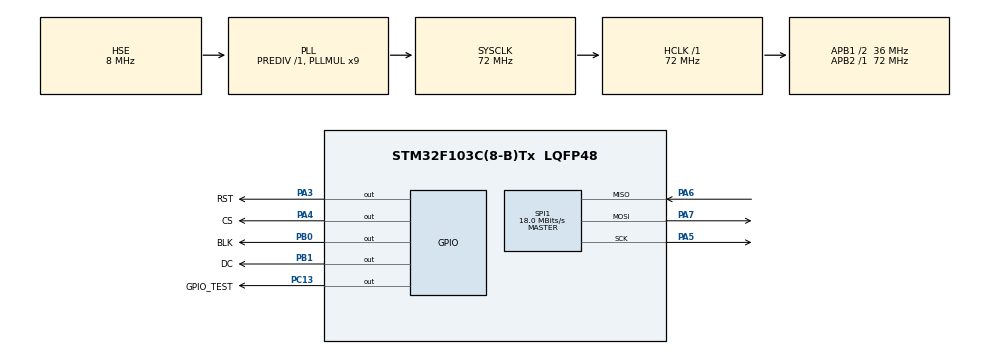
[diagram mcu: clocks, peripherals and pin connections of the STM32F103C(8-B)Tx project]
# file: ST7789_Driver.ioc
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Dma.Request0=SPI1_TX
Dma.SPI1_TX.0.Direction=DMA_MEMORY_TO_PERIPH
Dma.SPI1_TX.0.Instance=DMA1_Channel3
Dma.SPI1_TX.0.MemDataAlignment=DMA_MDATAALIGN_HALFWORD
Dma.SPI1_TX.0.MemInc=DMA_MINC_ENABLE
Dma.SPI1_TX.0.Mode=DMA_NORMAL
Dma.SPI1_TX.0.PeriphDataAlignment=DMA_PDATAALIGN_HALFWORD
Dma.SPI1_TX.0.PeriphInc=DMA_PINC_DISABLE
Dma.SPI1_TX.0.Priority=DMA_PRIORITY_HIGH
FREERTOS.Tasks01=defaultTask,0,128,StartDefaultTask,Default,NULL,Dynamic,NULL,NULL;DisplayTask,0,512,StartDisplayTask,Default,NULL,Dynamic,NULL,NULL
Mcu.Family=STM32F1
Mcu.Name=STM32F103C(8-B)Tx
Mcu.Package=LQFP48
NVIC.DMA1_Channel3_IRQn=true\:5\:0\:false\:false\:true\:true\:false\:true\:true
NVIC.PriorityGroup=NVIC_PRIORITYGROUP_4
NVIC.TIM1_UP_IRQn=true\:15\:0\:false\:false\:true\:false\:false\:true\:true
NVIC.TimeBase=TIM1_UP_IRQn
NVIC.TimeBaseIP=TIM1
PA13.Mode=Serial_Wire
PA13.Signal=SYS_JTMS-SWDIO
PA14.Mode=Serial_Wire
PA14.Signal=SYS_JTCK-SWCLK
PA3.GPIO_Label=RST
PA3.Signal=GPIO_Output
PA4.GPIO_Label=CS
PA4.Signal=GPIO_Output
PA5.Mode=Full_Duplex_Master
PA5.Signal=SPI1_SCK
PA6.Mode=Full_Duplex_Master
PA6.Signal=SPI1_MISO
PA7.Mode=Full_Duplex_Master
PA7.Signal=SPI1_MOSI
PB0.GPIO_Label=BLK
PB0.Signal=GPIO_Output
PB1.GPIO_Label=DC
PB1.Signal=GPIO_Output
PC13-TAMPER-RTC.GPIO_Label=GPIO_TEST
PC13-TAMPER-RTC.Signal=GPIO_Output
PC14-OSC32_IN.Mode=LSE-External-Oscillator
PC14-OSC32_IN.Signal=RCC_OSC32_IN
PC15-OSC32_OUT.Mode=LSE-External-Oscillator
PC15-OSC32_OUT.Signal=RCC_OSC32_OUT
PD0-OSC_IN.Mode=HSE-External-Oscillator
PD0-OSC_IN.Signal=RCC_OSC_IN
PD1-OSC_OUT.Mode=HSE-External-Oscillator
PD1-OSC_OUT.Signal=RCC_OSC_OUT
ProjectManager.HeapSize=0x200
ProjectManager.StackSize=0x400
ProjectManager.TargetToolchain=MDK-ARM V5.32
RCC.AHBFreq_Value=72000000
RCC.APB1CLKDivider=RCC_HCLK_DIV2
RCC.APB1Freq_Value=36000000
RCC.APB1TimFreq_Value=72000000
RCC.APB2Freq_Value=72000000
RCC.APB2TimFreq_Value=72000000
RCC.HCLKFreq_Value=72000000
RCC.PLLMUL=RCC_PLL_MUL9
RCC.PLLSourceVirtual=RCC_PLLSOURCE_HSE
RCC.SYSCLKFreq_VALUE=72000000
RCC.SYSCLKSource=RCC_SYSCLKSOURCE_PLLCLK
RCC.USBFreq_Value=72000000
SPI1.BaudRatePrescaler=SPI_BAUDRATEPRESCALER_4
SPI1.CalculateBaudRate=18.0 MBits/s
SPI1.Direction=SPI_DIRECTION_2LINES
SPI1.Mode=SPI_MODE_MASTER
SPI1.VirtualType=VM_MASTER
VP_FREERTOS_VS_CMSIS_V1.Mode=CMSIS_V1
VP_SYS_VS_tim1.Mode=TIM1
board=custom

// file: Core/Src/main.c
/* USER CODE BEGIN Header */
/**
  ******************************************************************************
  * @file           : main.c
  * @brief          : ST7789 240x320 icon display, PB3/PB4/PB5/PB6 control
  ******************************************************************************
  */
/* USER CODE END Header */

#include "main.h"
#include "cmsis_os.h"
#include "st7789.h"

/* ?? main.h ??????,????? */
#ifndef GPIO_TEST_Pin
#define GPIO_TEST_Pin GPIO_PIN_13
#endif

#ifndef GPIO_TEST_GPIO_Port
#define GPIO_TEST_GPIO_Port GPIOC
#endif

#ifndef RST_Pin
#define RST_Pin GPIO_PIN_3
#endif

#ifndef RST_GPIO_Port
#define RST_GPIO_Port GPIOA
#endif

#ifndef CS_Pin
#define CS_Pin GPIO_PIN_4
#endif

#ifndef CS_GPIO_Port
#define CS_GPIO_Port GPIOA
#endif

#ifndef BLK_Pin
#define BLK_Pin GPIO_PIN_0
#endif

#ifndef BLK_GPIO_Port
#define BLK_GPIO_Port GPIOB
#endif

#ifndef DC_Pin
#define DC_Pin GPIO_PIN_1
#endif

#ifndef DC_GPIO_Port
#define DC_GPIO_Port GPIOB
#endif

SPI_HandleTypeDef hspi1;

/* ?? DMA ??,????? MSP / IT ??????? */
DMA_HandleTypeDef hdma_spi1_tx;

osThreadId defaultTaskHandle;
osThreadId displayTaskHandle;

void SystemClock_Config(void);
static void MX_GPIO_Init(void);
static void MX_DMA_Init(void);
static void MX_SPI1_Init(void);

void StartDefaultTask(void const * argument);
void StartDisplayTask(void const * argument);

/* USER CODE BEGIN 0 */

/* =========================
   ??
   ========================= */

/* 0:? 0.2 ?????,???????,??
   1:? 0.2 ????????? */
#define APP_FORCE_REFRESH     0

#define APP_REFRESH_MS        200

/* =========================
   ??????
   ========================= */
#define KEY_LEFT_PORT         GPIOB
#define KEY_LEFT_PIN          GPIO_PIN_3

#define KEY_FORWARD_PORT      GPIOB
#define KEY_FORWARD_PIN       GPIO_PIN_4

#define KEY_RIGHT_PORT        GPIOB
#define KEY_RIGHT_PIN         GPIO_PIN_5

#define KEY_WARNING_PORT      GPIOB
#define KEY_WARNING_PIN       GPIO_PIN_6

/* =========================
   RGB565 ??
   EVA ??:?? + ?? + ????
   ========================= */
#define APP_RGB565(r, g, b)   (uint16_t)((((r) & 0xF8) << 8) | (((g) & 0xFC) << 3) | ((b) >> 3))

#define APP_COLOR_BLACK       APP_RGB565(0,   0,   0)
#define APP_COLOR_RED         APP_RGB565(230, 0,   30)
#define APP_COLOR_DARK_RED    APP_RGB565(80,  0,   10)
#define APP_COLOR_WHITE       APP_RGB565(255, 255, 255)
#define APP_COLOR_GRAY        APP_RGB565(60,  60,  60)
#define APP_COLOR_DIM         APP_RGB565(25,  25,  25)

/* =========================
   ????
   ========================= */
typedef enum
{
    APP_STATE_NERVOUS = 0,
    APP_STATE_LEFT,
    APP_STATE_FORWARD,
    APP_STATE_RIGHT,
    APP_STATE_WARNING
} AppState_t;

/* =========================
   ??????
   ========================= */

static void APP_FillRect(uint16_t x, uint16_t y, uint16_t w, uint16_t h, uint16_t color)
{
    if (x >= TFT_WIDTH || y >= TFT_HEIGHT)
    {
        return;
    }

    if ((x + w) > TFT_WIDTH)
    {
        w = TFT_WIDTH - x;
    }

    if ((y + h) > TFT_HEIGHT)
    {
        h = TFT_HEIGHT - y;
    }

    if (w == 0 || h == 0)
    {
        return;
    }

    ST7789_SetScreen(x, y, x + w - 1, y + h - 1, color);
}

static void APP_FillHLine(int32_t x0, int32_t x1, int32_t y, uint16_t color)
{
    int32_t t;

    if (y < 0 || y >= TFT_HEIGHT)
    {
        return;
    }

    if (x0 > x1)
    {
        t = x0;
        x0 = x1;
        x1 = t;
    }

    if (x1 < 0 || x0 >= TFT_WIDTH)
    {
        return;
    }

    if (x0 < 0)
    {
        x0 = 0;
    }

    if (x1 >= TFT_WIDTH)
    {
        x1 = TFT_WIDTH - 1;
    }

    ST7789_SetScreen((uint16_t)x0, (uint16_t)y, (uint16_t)x1, (uint16_t)y, color);
}

static void APP_SwapI32(int32_t *a, int32_t *b)
{
    int32_t t;

    t = *a;
    *a = *b;
    *b = t;
}

static int32_t APP_InterpX(int32_t x0, int32_t y0, int32_t x1, int32_t y1, int32_t y)
{
    if (y1 == y0)
    {
        return x0;
    }

    return x0 + (x1 - x0) * (y - y0) / (y1 - y0);
}

static void APP_FillTriangle(int32_t x0, int32_t y0,
                             int32_t x1, int32_t y1,
                             int32_t x2, int32_t y2,
                             uint16_t color)
{
    int32_t y;
    int32_t xa;
    int32_t xb;

    if (y0 > y1)
    {
        APP_SwapI32(&y0, &y1);
        APP_SwapI32(&x0, &x1);
    }

    if (y1 > y2)
    {
        APP_SwapI32(&y1, &y2);
        APP_SwapI32(&x1, &x2);
    }

    if (y0 > y1)
    {
        APP_SwapI32(&y0, &y1);
        APP_SwapI32(&x0, &x1);
    }

    for (y = y0; y <= y2; y++)
    {
        if (y < y1)
        {
            xa = APP_InterpX(x0, y0, x1, y1, y);
            xb = APP_InterpX(x0, y0, x2, y2, y);
        }
        else
        {
            xa = APP_InterpX(x1, y1, x2, y2, y);
            xb = APP_InterpX(x0, y0, x2, y2, y);
        }

        APP_FillHLine(xa, xb, y, color);
    }
}

/* =========================
   5x7 ????
   ?????????
   ========================= */

static uint8_t APP_GetFont5x7(char c, uint8_t row)
{
    uint8_t v = 0x00;

    switch (c)
    {
        case 'A':
            {
                const uint8_t p[7] = {0x0E,0x11,0x11,0x1F,0x11,0x11,0x11};
                v = p[row];
            }
            break;

        case 'D':
            {
                const uint8_t p[7] = {0x1E,0x11,0x11,0x11,0x11,0x11,0x1E};
                v = p[row];
            }
            break;

        case 'E':
            {
                const uint8_t p[7] = {0x1F,0x10,0x10,0x1E,0x10,0x10,0x1F};
                v = p[row];
            }
            break;

        case 'F':
            {
                const uint8_t p[7] = {0x1F,0x10,0x10,0x1E,0x10,0x10,0x10};
                v = p[row];
            }
            break;

        case 'G':
            {
                const uint8_t p[7] = {0x0E,0x11,0x10,0x17,0x11,0x11,0x0E};
                v = p[row];
            }
            break;

        case 'H':
            {
                const uint8_t p[7] = {0x11,0x11,0x11,0x1F,0x11,0x11,0x11};
                v = p[row];
            }
            break;

        case 'I':
            {
                const uint8_t p[7] = {0x1F,0x04,0x04,0x04,0x04,0x04,0x1F};
                v = p[row];
            }
            break;

        case 'L':
            {
                const uint8_t p[7] = {0x10,0x10,0x10,0x10,0x10,0x10,0x1F};
                v = p[row];
            }
            break;

        case 'N':
            {
                const uint8_t p[7] = {0x11,0x19,0x15,0x13,0x11,0x11,0x11};
                v = p[row];
            }
            break;

        case 'O':
            {
                const uint8_t p[7] = {0x0E,0x11,0x11,0x11,0x11,0x11,0x0E};
                v = p[row];
            }
            break;

        case 'R':
            {
                const uint8_t p[7] = {0x1E,0x11,0x11,0x1E,0x14,0x12,0x11};
                v = p[row];
            }
            break;

        case 'S':
            {
                const uint8_t p[7] = {0x0F,0x10,0x10,0x0E,0x01,0x01,0x1E};
                v = p[row];
            }
            break;

        case 'T':
            {
                const uint8_t p[7] = {0x1F,0x04,0x04,0x04,0x04,0x04,0x04};
                v = p[row];
            }
            break;

        case 'U':
            {
                const uint8_t p[7] = {0x11,0x11,0x11,0x11,0x11,0x11,0x0E};
                v = p[row];
            }
            break;

        case 'V':
            {
                const uint8_t p[7] = {0x11,0x11,0x11,0x11,0x11,0x0A,0x04};
                v = p[row];
            }
            break;

        case 'W':
            {
                const uint8_t p[7] = {0x11,0x11,0x11,0x15,0x15,0x15,0x0A};
                v = p[row];
            }
            break;

        case 'o':
            {
                const uint8_t p[7] = {0x00,0x00,0x0E,0x11,0x11,0x11,0x0E};
                v = p[row];
            }
            break;

        case 'u':
            {
                const uint8_t p[7] = {0x00,0x00,0x11,0x11,0x11,0x13,0x0D};
                v = p[row];
            }
            break;

        case 's':
            {
                const uint8_t p[7] = {0x00,0x00,0x0F,0x10,0x0E,0x01,0x1E};
                v = p[row];
            }
            break;

        case ' ':
        default:
            v = 0x00;
            break;
    }

    return v;
}

static uint16_t APP_TextWidth(const char *str, uint8_t scale)
{
    uint16_t len = 0;

    while (*str)
    {
        len++;
        str++;
    }

    if (len == 0)
    {
        return 0;
    }

    return (uint16_t)(len * 6 * scale - scale);
}

static void APP_DrawChar5x7(uint16_t x, uint16_t y, char c, uint8_t scale, uint16_t color)
{
    uint8_t row;
    uint8_t col;
    uint8_t bits;

    for (row = 0; row < 7; row++)
    {
        bits = APP_GetFont5x7(c, row);

        for (col = 0; col < 5; col++)
        {
            if (bits & (1 << (4 - col)))
            {
                APP_FillRect(x + col * scale, y + row * scale, scale, scale, color);
            }
        }
    }
}

static void APP_DrawText(uint16_t x, uint16_t y, const char *str, uint8_t scale, uint16_t color)
{
    while (*str)
    {
        APP_DrawChar5x7(x, y, *str, scale, color);
        x += 6 * scale;
        str++;
    }
}

static void APP_DrawTextCenter(uint16_t y, const char *str, uint8_t scale, uint16_t color)
{
    uint16_t w;
    uint16_t x;

    w = APP_TextWidth(str, scale);

    if (w >= TFT_WIDTH)
    {
        x = 0;
    }
    else
    {
        x = (TFT_WIDTH - w) / 2;
    }

    APP_DrawText(x, y, str, scale, color);
}

/* =========================
   EVA ????
   ========================= */

static void APP_DrawEvaFrame(void)
{
    /* ????? */
    APP_FillRect(0, 0, TFT_WIDTH, 5, APP_COLOR_DARK_RED);
    APP_FillRect(0, TFT_HEIGHT - 5, TFT_WIDTH, 5, APP_COLOR_DARK_RED);
    APP_FillRect(0, 0, 5, TFT_HEIGHT, APP_COLOR_DARK_RED);
    APP_FillRect(TFT_WIDTH - 5, 0, 5, TFT_HEIGHT, APP_COLOR_DARK_RED);

    /* ????? */
    APP_FillRect(10, 10, 35, 5, APP_COLOR_RED);
    APP_FillRect(10, 10, 5, 35, APP_COLOR_RED);

    APP_FillRect(TFT_WIDTH - 45, 10, 35, 5, APP_COLOR_RED);
    APP_FillRect(TFT_WIDTH - 15, 10, 5, 35, APP_COLOR_RED);

    APP_FillRect(10, TFT_HEIGHT - 15, 35, 5, APP_COLOR_RED);
    APP_FillRect(10, TFT_HEIGHT - 45, 5, 35, APP_COLOR_RED);

    APP_FillRect(TFT_WIDTH - 45, TFT_HEIGHT - 15, 35, 5, APP_COLOR_RED);
    APP_FillRect(TFT_WIDTH - 15, TFT_HEIGHT - 45, 5, 35, APP_COLOR_RED);
}

static void APP_ClearEvaScreen(void)
{
    ST7789_FillScreen(APP_COLOR_BLACK);
    APP_DrawEvaFrame();
}

/* =========================
   ??????
   ========================= */

static void APP_DrawLeftScreen(void)
{
    APP_ClearEvaScreen();

    APP_DrawTextCenter(28, "LEFT", 4, APP_COLOR_RED);

    /* ?????? */
    APP_FillTriangle(35, 170,
                     120, 85,
                     120, 255,
                     APP_COLOR_RED);

    APP_FillRect(115, 135, 85, 70, APP_COLOR_RED);

    /* ????,?? EVA ??? */
    APP_FillRect(125, 150, 60, 12, APP_COLOR_BLACK);
    APP_FillRect(125, 178, 60, 12, APP_COLOR_BLACK);

    /* ???? */
    ST7789_DrawLine(70, 170, 112, 128, APP_COLOR_WHITE);
    ST7789_DrawLine(70, 170, 112, 212, APP_COLOR_WHITE);
}

static void APP_DrawForwardScreen(void)
{
    APP_ClearEvaScreen();

    APP_DrawTextCenter(28, "FORWARD", 3, APP_COLOR_RED);

    /* ???? */
    APP_FillTriangle(120, 55,
                     40, 155,
                     200, 155,
                     APP_COLOR_RED);

    APP_FillRect(85, 150, 70, 120, APP_COLOR_RED);

    /* ???? */
    APP_FillRect(105, 160, 30, 95, APP_COLOR_BLACK);
    APP_FillRect(75, 170, 90, 10, APP_COLOR_BLACK);

    /* ???? */
    ST7789_DrawLine(120, 78, 72, 140, APP_COLOR_WHITE);
    ST7789_DrawLine(120, 78, 168, 140, APP_COLOR_WHITE);
}

static void APP_DrawRightScreen(void)
{
    APP_ClearEvaScreen();

    APP_DrawTextCenter(28, "RIGHT", 4, APP_COLOR_RED);

    /* ???? */
    APP_FillTriangle(205, 170,
                     120, 85,
                     120, 255,
                     APP_COLOR_RED);

    APP_FillRect(40, 135, 85, 70, APP_COLOR_RED);

    /* ???? */
    APP_FillRect(55, 150, 60, 12, APP_COLOR_BLACK);
    APP_FillRect(55, 178, 60, 12, APP_COLOR_BLACK);

    /* ???? */
    ST7789_DrawLine(170, 170, 128, 128, APP_COLOR_WHITE);
    ST7789_DrawLine(170, 170, 128, 212, APP_COLOR_WHITE);
}

static void APP_DrawWarningScreen(void)
{
    APP_ClearEvaScreen();

    APP_DrawTextCenter(28, "WARNING", 3, APP_COLOR_RED);

    /* ?????? */
    APP_FillTriangle(120, 65,
                     25, 265,
                     215, 265,
                     APP_COLOR_RED);

    /* ?????,???????? */
    APP_FillTriangle(120, 105,
                     65, 235,
                     175, 235,
                     APP_COLOR_BLACK);

    /* ????? */
    APP_FillRect(108, 130, 24, 70, APP_COLOR_RED);
    APP_FillRect(106, 215, 28, 28, APP_COLOR_RED);

    /* ????? */
    APP_FillRect(35, 285, 170, 8, APP_COLOR_RED);
}

static void APP_DrawNervousScreen(void)
{
    APP_ClearEvaScreen();

    /* ???? NERVous */
    APP_DrawTextCenter(115, "NERVous", 4, APP_COLOR_RED);

    /* ????? */
    APP_FillRect(40, 95, 160, 4, APP_COLOR_RED);
    APP_FillRect(40, 180, 160, 4, APP_COLOR_RED);

    /* ????? */
    APP_DrawTextCenter(220, "STAND BY", 2, APP_COLOR_DARK_RED);

    /* ???? */
    APP_FillRect(114, 252, 12, 12, APP_COLOR_RED);
}

/* =========================
   ???????
   ========================= */

static AppState_t APP_ReadStateFromPins(void)
{
    GPIO_PinState b3;
    GPIO_PinState b4;
    GPIO_PinState b5;
    GPIO_PinState b6;

    b3 = HAL_GPIO_ReadPin(KEY_LEFT_PORT, KEY_LEFT_PIN);
    b4 = HAL_GPIO_ReadPin(KEY_FORWARD_PORT, KEY_FORWARD_PIN);
    b5 = HAL_GPIO_ReadPin(KEY_RIGHT_PORT, KEY_RIGHT_PIN);
    b6 = HAL_GPIO_ReadPin(KEY_WARNING_PORT, KEY_WARNING_PIN);

    /*
       ???:
       ????,???????????
       ????? PB3 ?????,????????????
    */
    if (b6 == GPIO_PIN_SET)
    {
        return APP_STATE_WARNING;
    }
    else if (b3 == GPIO_PIN_SET)
    {
        return APP_STATE_LEFT;
    }
    else if (b4 == GPIO_PIN_SET)
    {
        return APP_STATE_FORWARD;
    }
    else if (b5 == GPIO_PIN_SET)
    {
        return APP_STATE_RIGHT;
    }
    else
    {
        return APP_STATE_NERVOUS;
    }
}

static void APP_ShowState(AppState_t state)
{
    switch (state)
    {
        case APP_STATE_LEFT:
            APP_DrawLeftScreen();
            break;

        case APP_STATE_FORWARD:
            APP_DrawForwardScreen();
            break;

        case APP_STATE_RIGHT:
            APP_DrawRightScreen();
            break;

        case APP_STATE_WARNING:
            APP_DrawWarningScreen();
            break;

        case APP_STATE_NERVOUS:
        default:
            APP_DrawNervousScreen();
            break;
    }
}

/* USER CODE END 0 */

int main(void)
{
    HAL_Init();

    SystemClock_Config();

    MX_GPIO_Init();
    MX_DMA_Init();
    MX_SPI1_Init();

    HAL_GPIO_WritePin(BLK_GPIO_Port, BLK_Pin, GPIO_PIN_RESET);

    osThreadDef(defaultTask, StartDefaultTask, osPriorityNormal, 0, 128);
    defaultTaskHandle = osThreadCreate(osThread(defaultTask), NULL);

    osThreadDef(displayTask, StartDisplayTask, osPriorityAboveNormal, 0, 512);
    displayTaskHandle = osThreadCreate(osThread(displayTask), NULL);

    osKernelStart();

    while (1)
    {
    }
}

void SystemClock_Config(void)
{
    RCC_OscInitTypeDef RCC_OscInitStruct;
    RCC_ClkInitTypeDef RCC_ClkInitStruct;

    RCC_OscInitStruct.OscillatorType = RCC_OSCILLATORTYPE_HSE;
    RCC_OscInitStruct.HSEState = RCC_HSE_ON;
    RCC_OscInitStruct.HSEPredivValue = RCC_HSE_PREDIV_DIV1;
    RCC_OscInitStruct.HSIState = RCC_HSI_ON;

    RCC_OscInitStruct.PLL.PLLState = RCC_PLL_ON;
    RCC_OscInitStruct.PLL.PLLSource = RCC_PLLSOURCE_HSE;
    RCC_OscInitStruct.PLL.PLLMUL = RCC_PLL_MUL9;

    if (HAL_RCC_OscConfig(&RCC_OscInitStruct) != HAL_OK)
    {
        Error_Handler();
    }

    RCC_ClkInitStruct.ClockType = RCC_CLOCKTYPE_HCLK  |
                                  RCC_CLOCKTYPE_SYSCLK |
                                  RCC_CLOCKTYPE_PCLK1  |
                                  RCC_CLOCKTYPE_PCLK2;

    RCC_ClkInitStruct.SYSCLKSource = RCC_SYSCLKSOURCE_PLLCLK;
    RCC_ClkInitStruct.AHBCLKDivider = RCC_SYSCLK_DIV1;
    RCC_ClkInitStruct.APB1CLKDivider = RCC_HCLK_DIV2;
    RCC_ClkInitStruct.APB2CLKDivider = RCC_HCLK_DIV1;

    if (HAL_RCC_ClockConfig(&RCC_ClkInitStruct, FLASH_LATENCY_2) != HAL_OK)
    {
        Error_Handler();
    }
}

static void MX_DMA_Init(void)
{
    __HAL_RCC_DMA1_CLK_ENABLE();

    HAL_NVIC_SetPriority(DMA1_Channel3_IRQn, 5, 0);
    HAL_NVIC_EnableIRQ(DMA1_Channel3_IRQn);
}

static void MX_SPI1_Init(void)
{
    hspi1.Instance = SPI1;
    hspi1.Init.Mode = SPI_MODE_MASTER;
    hspi1.Init.Direction = SPI_DIRECTION_2LINES;
    hspi1.Init.DataSize = SPI_DATASIZE_8BIT;
    hspi1.Init.CLKPolarity = SPI_POLARITY_LOW;
    hspi1.Init.CLKPhase = SPI_PHASE_1EDGE;
    hspi1.Init.NSS = SPI_NSS_SOFT;

    /*
       ????? /4 ??????,?? /8?
       ??????,???? SPI_BAUDRATEPRESCALER_4?
    */
    hspi1.Init.BaudRatePrescaler = SPI_BAUDRATEPRESCALER_8;

    hspi1.Init.FirstBit = SPI_FIRSTBIT_MSB;
    hspi1.Init.TIMode = SPI_TIMODE_DISABLE;
    hspi1.Init.CRCCalculation = SPI_CRCCALCULATION_DISABLE;
    hspi1.Init.CRCPolynomial = 10;

    if (HAL_SPI_Init(&hspi1) != HAL_OK)
    {
        Error_Handler();
    }
}

static void MX_GPIO_Init(void)
{
    GPIO_InitTypeDef GPIO_InitStruct;

    __HAL_RCC_GPIOC_CLK_ENABLE();
    __HAL_RCC_GPIOD_CLK_ENABLE();
    __HAL_RCC_GPIOA_CLK_ENABLE();
    __HAL_RCC_GPIOB_CLK_ENABLE();
    __HAL_RCC_AFIO_CLK_ENABLE();

    /*
       ??:
       PB3 ? PB4 ??? JTAG ?????
       ???? JTAG,?? SWD ?????
       ?? PB3/PB4 ?????? GPIO ?????
    */
    __HAL_AFIO_REMAP_SWJ_NOJTAG();

    HAL_GPIO_WritePin(GPIO_TEST_GPIO_Port, GPIO_TEST_Pin, GPIO_PIN_SET);
    HAL_GPIO_WritePin(RST_GPIO_Port, RST_Pin, GPIO_PIN_SET);
    HAL_GPIO_WritePin(CS_GPIO_Port, CS_Pin, GPIO_PIN_SET);
    HAL_GPIO_WritePin(BLK_GPIO_Port, BLK_Pin, GPIO_PIN_RESET);
    HAL_GPIO_WritePin(DC_GPIO_Port, DC_Pin, GPIO_PIN_RESET);

    /* PC13 ?? LED */
    GPIO_InitStruct.Pin = GPIO_TEST_Pin;
    GPIO_InitStruct.Mode = GPIO_MODE_OUTPUT_PP;
    GPIO_InitStruct.Speed = GPIO_SPEED_FREQ_LOW;
    HAL_GPIO_Init(GPIO_TEST_GPIO_Port, &GPIO_InitStruct);

    /* PA3 = RST */
    GPIO_InitStruct.Pin = RST_Pin;
    GPIO_InitStruct.Mode = GPIO_MODE_OUTPUT_PP;
    GPIO_InitStruct.Speed = GPIO_SPEED_FREQ_HIGH;
    HAL_GPIO_Init(RST_GPIO_Port, &GPIO_InitStruct);

    /* PA4 = CS */
    GPIO_InitStruct.Pin = CS_Pin;
    GPIO_InitStruct.Mode = GPIO_MODE_OUTPUT_PP;
    GPIO_InitStruct.Speed = GPIO_SPEED_FREQ_HIGH;
    HAL_GPIO_Init(CS_GPIO_Port, &GPIO_InitStruct);

    /* PB0 = BLK */
    GPIO_InitStruct.Pin = BLK_Pin;
    GPIO_InitStruct.Mode = GPIO_MODE_OUTPUT_PP;
    GPIO_InitStruct.Speed = GPIO_SPEED_FREQ_HIGH;
    HAL_GPIO_Init(BLK_GPIO_Port, &GPIO_InitStruct);

    /* PB1 = DC */
    GPIO_InitStruct.Pin = DC_Pin;
    GPIO_InitStruct.Mode = GPIO_MODE_OUTPUT_PP;
    GPIO_InitStruct.Speed = GPIO_SPEED_FREQ_HIGH;
    HAL_GPIO_Init(DC_GPIO_Port, &GPIO_InitStruct);

    /*
       PB3/PB4/PB5/PB6 ??:
       PB3 ?:??
       PB4 ?:??
       PB5 ?:??
       PB6 ?:??

       ????????,???????????
       ????????????????,????? GPIO_NOPULL?
    */
    GPIO_InitStruct.Pin = KEY_LEFT_PIN | KEY_FORWARD_PIN | KEY_RIGHT_PIN | KEY_WARNING_PIN;
    GPIO_InitStruct.Mode = GPIO_MODE_INPUT;
    GPIO_InitStruct.Pull = GPIO_PULLDOWN;
    HAL_GPIO_Init(GPIOB, &GPIO_InitStruct);
}

/* USER CODE BEGIN 4 */

void StartDefaultTask(void const * argument)
{
    for (;;)
    {
        HAL_GPIO_TogglePin(GPIO_TEST_GPIO_Port, GPIO_TEST_Pin);
        osDelay(500);
    }
}

void StartDisplayTask(void const * argument)
{
    AppState_t current_state;
    AppState_t last_state;

    osDelay(200);

    HAL_GPIO_WritePin(BLK_GPIO_Port, BLK_Pin, GPIO_PIN_SET);

    osDelay(100);

    ST7789_Init();

    osDelay(100);

    ST7789_SetRotation(DISPLAY_ROTATION_0);
    ST7789_FillScreen(APP_COLOR_BLACK);

    current_state = APP_ReadStateFromPins();
    last_state = current_state;
    APP_ShowState(current_state);

    for (;;)
    {
        current_state = APP_ReadStateFromPins();

#if APP_FORCE_REFRESH
        APP_ShowState(current_state);
        last_state = current_state;
#else
        if (current_state != last_state)
        {
            last_state = current_state;
            APP_ShowState(current_state);
        }
#endif

        osDelay(APP_REFRESH_MS);
    }
}

/* USER CODE END 4 */

void HAL_TIM_PeriodElapsedCallback(TIM_HandleTypeDef *htim)
{
    if (htim->Instance == TIM1)
    {
        HAL_IncTick();
    }
}

/**
  * @brief Error Handler
  */
void Error_Handler(void)
{
    __disable_irq();

    while (1)
    {
        HAL_GPIO_TogglePin(GPIO_TEST_GPIO_Port, GPIO_TEST_Pin);

        for (volatile uint32_t i = 0; i < 500000; i++)
        {
        }
    }
}
